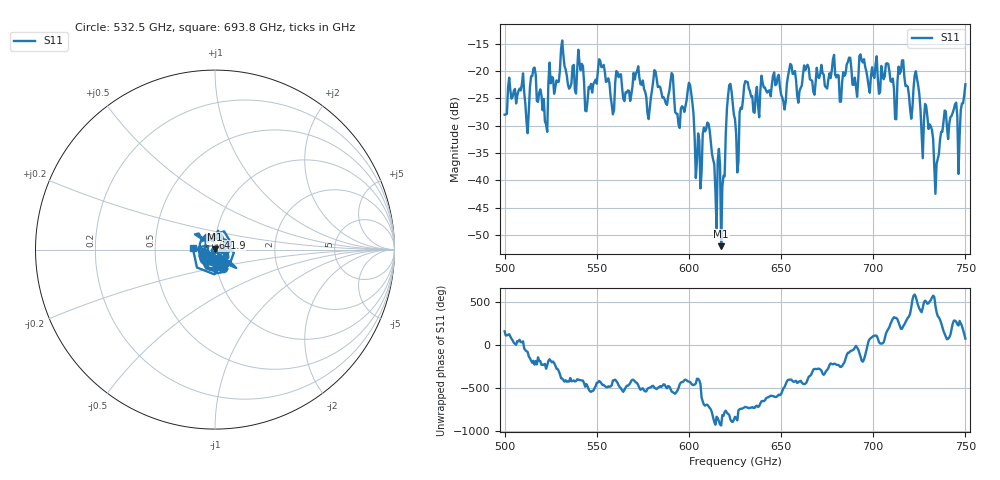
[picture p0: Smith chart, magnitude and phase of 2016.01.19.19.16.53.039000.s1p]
!Created with skrf (http://scikit-rf.org).
# GHz S RI R 50.0
!freq ReS11 ImS11
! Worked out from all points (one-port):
!   401 points, 500 GHz to 750 GHz, reference 50 ohm
!   lowest |S11| = -52.0 dB at 617.5 GHz (marker M1), VSWR 1.01, Z = 49.8 + j0.144 ohm
!   |S11| at or under -10 dB: start of sweep to end of sweep
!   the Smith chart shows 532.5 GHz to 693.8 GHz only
!   S11 on the Smith chart (normalised r, x): 532.5 GHz: 1.07, -0.22; 641.9 GHz: 0.97, +0.13; 693.8 GHz: 0.78, +0.01
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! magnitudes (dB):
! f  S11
! 500 GHz  -28.0
! 508.8 GHz  -23.6
! 512.5 GHz  -31.4
! 515.6 GHz  -19.6
! 521.9 GHz  -29.2
! 531.2 GHz  -14.4
! 532.5 GHz  -19.1
! 545 GHz  -25.4
! 562.5 GHz  -20.7
! 590.6 GHz  -20.4
! 593.8 GHz  -27.9
! 600.6 GHz  -22.6
! 605 GHz  -31.4
! 610 GHz  -29.4
! 617.5 GHz  -52.0
! 621.9 GHz  -22.6
! 625 GHz  -28.8
! 631.2 GHz  -22.0
! 641.9 GHz  -23.6
! 656.2 GHz  -20.5
! 687.5 GHz  -17.6
! 693.8 GHz  -18.1
! 718.8 GHz  -22.9
! 723.8 GHz  -21.4
! 734.4 GHz  -37.0
! 738.1 GHz  -29.3
! 746.9 GHz  -31.8
! 750 GHz  -22.4
